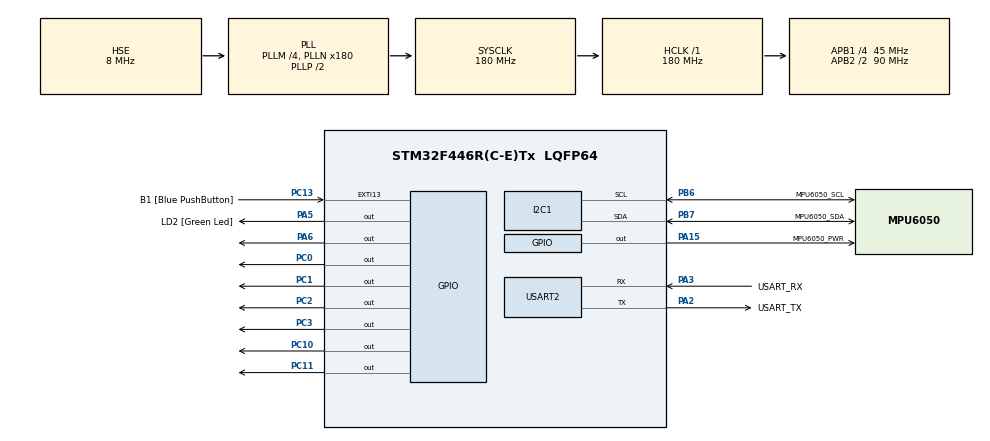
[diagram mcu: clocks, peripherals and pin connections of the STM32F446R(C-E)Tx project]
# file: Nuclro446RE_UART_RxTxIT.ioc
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Dma.I2C1_RX.0.Direction=DMA_PERIPH_TO_MEMORY
Dma.I2C1_RX.0.FIFOMode=DMA_FIFOMODE_DISABLE
Dma.I2C1_RX.0.Instance=DMA1_Stream0
Dma.I2C1_RX.0.MemDataAlignment=DMA_MDATAALIGN_BYTE
Dma.I2C1_RX.0.MemInc=DMA_MINC_ENABLE
Dma.I2C1_RX.0.Mode=DMA_NORMAL
Dma.I2C1_RX.0.PeriphDataAlignment=DMA_PDATAALIGN_BYTE
Dma.I2C1_RX.0.PeriphInc=DMA_PINC_DISABLE
Dma.I2C1_RX.0.Priority=DMA_PRIORITY_HIGH
Dma.I2C1_TX.1.Direction=DMA_MEMORY_TO_PERIPH
Dma.I2C1_TX.1.FIFOMode=DMA_FIFOMODE_DISABLE
Dma.I2C1_TX.1.Instance=DMA1_Stream6
Dma.I2C1_TX.1.MemDataAlignment=DMA_MDATAALIGN_BYTE
Dma.I2C1_TX.1.MemInc=DMA_MINC_ENABLE
Dma.I2C1_TX.1.Mode=DMA_NORMAL
Dma.I2C1_TX.1.PeriphDataAlignment=DMA_PDATAALIGN_BYTE
Dma.I2C1_TX.1.PeriphInc=DMA_PINC_DISABLE
Dma.I2C1_TX.1.Priority=DMA_PRIORITY_HIGH
Dma.Request0=I2C1_RX
Dma.Request1=I2C1_TX
I2C1.DutyCycle=I2C_DUTYCYCLE_16_9
I2C1.I2C_Mode=I2C_Fast
I2C1.OwnAddress=0x0
Mcu.Family=STM32F4
Mcu.Name=STM32F446R(C-E)Tx
Mcu.Package=LQFP64
NVIC.DMA1_Stream0_IRQn=true\:0\:0\:false\:false\:true
NVIC.DMA1_Stream6_IRQn=true\:0\:0\:false\:false\:true
NVIC.PriorityGroup=NVIC_PRIORITYGROUP_0
NVIC.RCC_IRQn=true\:0\:0\:false\:false\:true
NVIC.TIM2_IRQn=true\:0\:0\:false\:false\:true
NVIC.TIM3_IRQn=true\:0\:0\:false\:false\:true
NVIC.USART2_IRQn=true\:0\:0\:false\:false\:true
PA13.GPIO_Label=TMS
PA13.Signal=SYS_JTMS-SWDIO
PA14.GPIO_Label=TCK
PA14.Signal=SYS_JTCK-SWCLK
PA15.GPIO_Label=MPU6050_PWR
PA15.GPIO_Speed=GPIO_SPEED_FREQ_HIGH
PA15.Signal=GPIO_Output
PA2.GPIO_Label=USART_TX
PA2.Mode=Asynchronous
PA2.Signal=USART2_TX
PA3.GPIO_Label=USART_RX
PA3.Mode=Asynchronous
PA3.Signal=USART2_RX
PA5.GPIO_Label=LD2 [Green Led]
PA5.Signal=GPIO_Output
PA6.Signal=GPIO_Output
PB3.GPIO_Label=SWO
PB3.Signal=SYS_JTDO-SWO
PB6.GPIO_Label=MPU6050_SCL
PB6.GPIO_Speed=GPIO_SPEED_FREQ_HIGH
PB6.Mode=I2C
PB6.Signal=I2C1_SCL
PB7.GPIO_Label=MPU6050_SDA
PB7.GPIO_Speed=GPIO_SPEED_FREQ_HIGH
PB7.Mode=I2C
PB7.Signal=I2C1_SDA
PC0.Signal=GPIO_Output
PC1.Signal=GPIO_Output
PC10.Signal=GPIO_Output
PC11.Signal=GPIO_Output
PC13.GPIO_Label=B1 [Blue PushButton]
PC13.GPIO_ModeDefaultEXTI=GPIO_MODE_EVT_RISING
PC13.Signal=GPXTI13
PC14-OSC32_IN.Signal=RCC_OSC32_IN
PC15-OSC32_OUT.Signal=RCC_OSC32_OUT
PC2.Signal=GPIO_Output
PC3.Signal=GPIO_Output
PH0-OSC_IN.Mode=HSE-External-Oscillator
PH0-OSC_IN.Signal=RCC_OSC_IN
PH1-OSC_OUT.Mode=HSE-External-Oscillator
PH1-OSC_OUT.Signal=RCC_OSC_OUT
ProjectManager.HeapSize=0x200
ProjectManager.StackSize=0x400
ProjectManager.TargetToolchain=TrueSTUDIO
RCC.AHBFreq_Value=180000000
RCC.APB1CLKDivider=RCC_HCLK_DIV4
RCC.APB1Freq_Value=45000000
RCC.APB1TimFreq_Value=90000000
RCC.APB2CLKDivider=RCC_HCLK_DIV2
RCC.APB2Freq_Value=90000000
RCC.APB2TimFreq_Value=180000000
RCC.CortexFreq_Value=180000000
RCC.FLatency-AdvancedSettings=FLASH_LATENCY_5
RCC.HCLKFreq_Value=180000000
RCC.HSE_VALUE=8000000
RCC.HSI_VALUE=16000000
RCC.LSE_VALUE=32768
RCC.PLLM=4
RCC.PLLN=180
RCC.PLLSourceVirtual=RCC_PLLSOURCE_HSE
RCC.SYSCLKFreq_VALUE=180000000
RCC.SYSCLKSource=RCC_SYSCLKSOURCE_PLLCLK
RCC.USBFreq_Value=180000000
RCC.VCOOutputFreq_Value=360000000
TIM2.Period=9999
TIM2.Prescaler=9000
TIM3.Period=4999
TIM3.Prescaler=9000
VP_TIM2_VS_ClockSourceINT.Mode=Internal
VP_TIM3_VS_ClockSourceINT.Mode=Internal
board=NUCLEO-F446RE

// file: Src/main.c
/**
  ******************************************************************************
  * File Name          : main.c
  * Description        : Main program body
  ******************************************************************************
  *
  * COPYRIGHT(c) 2016 STMicroelectronics
  *
  * Redistribution and use in source and binary forms, with or without modification,
  * are permitted provided that the following conditions are met:
  *   1. Redistributions of source code must retain the above copyright notice,
  *      this list of conditions and the following disclaimer.
  *   2. Redistributions in binary form must reproduce the above copyright notice,
  *      this list of conditions and the following disclaimer in the documentation
  *      and/or other materials provided with the distribution.
  *   3. Neither the name of STMicroelectronics nor the names of its contributors
  *      may be used to endorse or promote products derived from this software
  *      without specific prior written permission.
  *
  * THIS SOFTWARE IS PROVIDED BY THE COPYRIGHT HOLDERS AND CONTRIBUTORS "AS IS"
  * AND ANY EXPRESS OR IMPLIED WARRANTIES, INCLUDING, BUT NOT LIMITED TO, THE
  * IMPLIED WARRANTIES OF MERCHANTABILITY AND FITNESS FOR A PARTICULAR PURPOSE ARE
  * DISCLAIMED. IN NO EVENT SHALL THE COPYRIGHT HOLDER OR CONTRIBUTORS BE LIABLE
  * FOR ANY DIRECT, INDIRECT, INCIDENTAL, SPECIAL, EXEMPLARY, OR CONSEQUENTIAL
  * DAMAGES (INCLUDING, BUT NOT LIMITED TO, PROCUREMENT OF SUBSTITUTE GOODS OR
  * SERVICES; LOSS OF USE, DATA, OR PROFITS; OR BUSINESS INTERRUPTION) HOWEVER
  * CAUSED AND ON ANY THEORY OF LIABILITY, WHETHER IN CONTRACT, STRICT LIABILITY,
  * OR TORT (INCLUDING NEGLIGENCE OR OTHERWISE) ARISING IN ANY WAY OUT OF THE USE
  * OF THIS SOFTWARE, EVEN IF ADVISED OF THE POSSIBILITY OF SUCH DAMAGE.
  *
  ******************************************************************************
  */
#include "stm32f4xx_hal.h"

/* USER CODE BEGIN Includes */
// SYSTICK_Config는 반드시 1000000으로 설정할것~!!!!!
// I2C Clock는 반드시 400KHz로 설정할것.....
#include <stdio.h>
#include <string.h>
#include "tlcd.h"
#include "my_mpu6050.h"
/* USER CODE END Includes */

I2C_HandleTypeDef hi2c1;
DMA_HandleTypeDef hdma_i2c1_rx;
DMA_HandleTypeDef hdma_i2c1_tx;

TIM_HandleTypeDef htim2;
TIM_HandleTypeDef htim3;

UART_HandleTypeDef huart2;

/* USER CODE BEGIN PV */
/* Private variables ---------------------------------------------------------*/
uint8_t Rx_Data2;            // uart2 receive data buffer
uint8_t Transfer_cplt2=0;
uint8_t count = 0,n;
char    sprt[50],gyroData[60],bufdata[14]={0,},i2cTxData[2],CaliBuf[7];
uint8_t MpuSetReady = 0,i2cStart=0;
volatile char Ten = 0,calibrate = 0;

/* Initialization of variables for kalman filter */
float x_next[7], P_next[7], z[7],K[7],nn[7]={0,},Caliave[7]={0,};
float P[7]={1,1,1,1,1,1,1};
float Q[7]={0.01,0.01,0.01,0.01,0.01,0.01,0.01};
float R[7]={0.0002,0.0002,0.0002,0.0002,0.0002,0.0002,0.0002};
float xfilter_value[7]={0,0,0,0,0,0,0},Conv_value[7]={0,};

/* USER CODE END PV */

void SystemClock_Config(void);
void Error_Handler(void);
static void MX_GPIO_Init(void);
static void MX_DMA_Init(void);
static void MX_USART2_UART_Init(void);
static void MX_I2C1_Init(void);
static void MX_TIM2_Init(void);
static void MX_TIM3_Init(void);

/* USER CODE BEGIN PFP */
/* Private function prototypes -----------------------------------------------*/
void HAL_UART_RxCpltCallback(UART_HandleTypeDef *huart);
void HAL_TIM_PeriodElapsedCallback(TIM_HandleTypeDef *htim);
void kalman_filter();

/* USER CODE END PFP */

/* USER CODE BEGIN 0 */
void HAL_UART_RxCpltCallback(UART_HandleTypeDef *huart)
{
	if(huart->Instance==USART2){
		HAL_UART_Transmit(&huart2,(uint8_t *)&Rx_Data2, 1,1000);
		HAL_UART_Receive_IT(&huart2,(uint8_t *)&Rx_Data2, 1);
		HAL_GPIO_TogglePin(LD2_GPIO_Port, LD2_Pin);
	}
/*	if(huart->Instance==UART5){
		HAL_UART_Transmit(&huart2,(uint8_t *)&Rx_Data5, 1,1000);
		HAL_UART_Receive_IT(&huart5,(uint8_t *)&Rx_Data5, 1);
	} */
}

uint8_t test = 0;
void HAL_TIM_PeriodElapsedCallback(TIM_HandleTypeDef *htim)
{
	int n;
	char tstr[20];

	if(htim->Instance==TIM2) {       // 1 sec interrupt
		//sprintf(sprt,"DT : %02d\r\n",count++);
		//if(count==100) count = 0;
		//HAL_UART_Transmit(&huart2,(uint8_t *)"0123456789\r\n", 12,1000);
		HAL_GPIO_TogglePin(LD2_GPIO_Port, LD2_Pin);
	}
	else if(htim->Instance==TIM3) {  // 1/100 sec interrupt
		if(!i2cStart) return;
		i2cTxData[0] = (uint8_t)0x3B;      // 0x3B - GYRO data register start address
		i2cTxData[1] = (uint8_t)0;         // 0
		while(HAL_I2C_Master_Transmit(&hi2c1,(uint16_t)MPU6050,(uint8_t *)&i2cTxData[0],1,1000)!=HAL_OK);  // 0x3B
		while(HAL_I2C_Master_Receive (&hi2c1,(uint16_t)MPU6050,(uint8_t *)bufdata,14,1000)!=HAL_OK);

		for(n=0;n<7;n++)	nn[n] += ((int16_t)(bufdata[n*2]<<8)| bufdata[n*2+1]);

		// 0.01초에 합번씩 총 10회 읽어서 10으로 나누어 평균으로 구한 뒤 칼만필터로 계산한다.
		Ten++;
		if(Ten < 10) return;
		Ten = 0;
		for(n=0;n<7;n++)	nn[n] /= 10.0; // 10으로 나누어서 평균을 구한다. ; 오차를 줄이기 위해....
		if(!calibrate) {
			for(n=0;n<7;n++)	Caliave[n] = nn[n]; // 초기 평균값을 저장한다.
			calibrate = 1;
		}

		nn[0] -= Caliave[0];  			// accel x
		nn[1] -= Caliave[1];  			// accel y
		nn[2] += (16384-Caliave[2]);  	// accel z
		nn[3] -= Caliave[3];
		nn[3] -= Caliave[4];			// gyro x
		nn[3] -= Caliave[5];			// gyro y
		nn[3] -= Caliave[6];			// gyro z

		kalman_filter();
		sprintf(tstr,"%8.2f%8.2f",nn[0],nn[1]);
		TLCD_Puts(1,0,tstr);
		for(n=0;n<7;n++)	nn[n] = 0; // clear 한다....
	}
}

// 7개의 값을 칼만필터 적용
void kalman_filter()
{
	int ifilter;
	char fstr[80];

    // Iteration loop
    for(ifilter=0;ifilter<7;ifilter++) {
    	x_next[ifilter]=xfilter_value[ifilter];
    	P_next[ifilter]=P[ifilter]+Q[ifilter];
    	K[ifilter]=P_next[ifilter]/(P_next[ifilter]+R[ifilter]);

    	// Original Data
    	z[ifilter]=(float)nn[ifilter];
    	// Kalman Data
    	xfilter_value[ifilter]=x_next[ifilter]+K[ifilter]*(z[ifilter]-x_next[ifilter]);

    	P[ifilter]=(1-K[ifilter])*P_next[ifilter];
    }

    for(ifilter=0;ifilter<=2;ifilter++) 	Conv_value[ifilter] = xfilter_value[ifilter] / 16384;
    Conv_value[3] = (xfilter_value[3]+12412)/340.0;
    for(ifilter=4;ifilter<=6;ifilter++)
    	Conv_value[ifilter] += ((xfilter_value[ifilter]-Caliave[ifilter]) / 131.0)*0.1;

    sprintf(fstr,"%10.2f%10.2f%10.2f%10.2f%10.2f%10.2f%10.2f\r\n",
    		Conv_value[0],Conv_value[1],Conv_value[2],    // ACCEL
			Conv_value[3],                                // TEMP
			Conv_value[4],Conv_value[5],Conv_value[6]     // GYRO
    );

    HAL_UART_Transmit(&huart2,(uint8_t *)fstr, 72,1000);
    memset(bufdata,0x00,14);
}

/* USER CODE END 0 */

int main(void)
{

  /* MCU Configuration----------------------------------------------------------*/

  /* Reset of all peripherals, Initializes the Flash interface and the Systick. */
  HAL_Init();

  /* Configure the system clock */
  SystemClock_Config();

  /* Initialize all configured peripherals */
  MX_GPIO_Init();
  MX_DMA_Init();
  MX_USART2_UART_Init();
  MX_I2C1_Init();
  MX_TIM2_Init();
  MX_TIM3_Init();

  /* USER CODE BEGIN 2 */
	TLCD_Init(GPIOC,GPIO_PIN_10,GPIO_PIN_11,GPIO_PIN_0,GPIO_PIN_1,GPIO_PIN_2,GPIO_PIN_3);
	TLCD_Puts(1,0,"Wait a moment...");
	TLCD_Puts(2,0,"GYRO Sensor init");

    // START MPU6050 --------------------------------------------------------------------
    // 만약 mpu6050이 연결되어 있지 않으면 무한루프에 빠짐.
    HAL_GPIO_WritePin(GPIOA, MPU6050_PWR_Pin, GPIO_PIN_RESET);    // PA15 pin Off...
    HAL_Delay(500000);   // wait 0.5 sec for MPU6050 power reset
    HAL_GPIO_WritePin(GPIOA, MPU6050_PWR_Pin, GPIO_PIN_SET);    // PA15 pin On...
    HAL_Delay(500000);   // 리셋 후 기동시까지 0.5초 기다림.

  	i2cTxData[0] = (uint8_t)RA_PWR_ADDR;      // 0x6B ; power on
    i2cTxData[1] = (uint8_t)RA_PWR_MGMT_1;    // 0
  	while(HAL_I2C_Master_Transmit(&hi2c1,(uint16_t)MPU6050,(uint8_t *)i2cTxData,2,1000)!=HAL_OK);
  	HAL_Delay(1000);    // wait 0.001 sec for MPU6050 START

  	i2cTxData[0] = (uint8_t)RA_USER_CTRL;     // 0x6A ;
    i2cTxData[1] = (uint8_t)USER_CTRL;        // 0
    while(HAL_I2C_Master_Transmit(&hi2c1,(uint16_t)MPU6050,(uint8_t *)i2cTxData,2,1000)!=HAL_OK);

  	i2cTxData[0] = (uint8_t)RA_INT_PIN_CFG;   // 0x37 ;
    i2cTxData[1] = (uint8_t)PIN_CFG;          // 0
    while(HAL_I2C_Master_Transmit(&hi2c1,(uint16_t)MPU6050,(uint8_t *)i2cTxData,2,1000)!=HAL_OK);

  	i2cTxData[0] = (uint8_t)RA_SMPLRT_DIV;    // 0x19 ;
    i2cTxData[1] = (uint8_t)SMPLRT_DIV;       // 19
    while(HAL_I2C_Master_Transmit(&hi2c1,(uint16_t)MPU6050,(uint8_t *)i2cTxData,2,1000)!=HAL_OK);

  	i2cTxData[0] = (uint8_t)RA_GYRO_CONFIG;   // 0x1B ;
    i2cTxData[1] = (uint8_t)USER_CTRL;        // 0
    while(HAL_I2C_Master_Transmit(&hi2c1,(uint16_t)MPU6050,(uint8_t *)i2cTxData,2,1000)!=HAL_OK);

  	i2cTxData[0] = (uint8_t)RA_ACCEL_CONFIG;  // 0x1C ;
    i2cTxData[1] = (uint8_t)USER_CTRL;        // 0
    while(HAL_I2C_Master_Transmit(&hi2c1,(uint16_t)MPU6050,(uint8_t *)i2cTxData,2,1000)!=HAL_OK);

  	i2cTxData[0] = (uint8_t)RA_CONFIG;        // 0x1A ;
  	i2cTxData[1] = (uint8_t)0;                // 0
  	while(HAL_I2C_Master_Transmit(&hi2c1,(uint16_t)MPU6050,(uint8_t *)i2cTxData,2,1000)!=HAL_OK);

  	// END   MPU6050 --------------------------------------------------------------------

  	i2cTxData[0] = (uint8_t)RA_WHO_AM_I;      // 0x75 ; who am i
    i2cTxData[1] = (uint8_t)1;                // 0
  	while(HAL_I2C_Master_Transmit(&hi2c1,(uint16_t)MPU6050,(uint8_t *)&i2cTxData[0],1,1000)!=HAL_OK);
  	while(HAL_I2C_Master_Receive (&hi2c1,(uint16_t)MPU6050,(uint8_t *)whoAmI,2,1000)!=HAL_OK);

  	while(HAL_UART_Receive_IT(&huart2, (uint8_t *)&Rx_Data2, 1)!=HAL_OK);
	while(HAL_TIM_Base_Start_IT(&htim2)!=HAL_OK);
	while(HAL_TIM_Base_Start_IT(&htim3)!=HAL_OK);

	// LCD사용을 위해 GPIOC를 사용. RS,E, D4,D5,D6,D7
//	TLCD_Init(GPIOC,GPIO_PIN_10,GPIO_PIN_11,GPIO_PIN_0,GPIO_PIN_1,GPIO_PIN_2,GPIO_PIN_3);
    HAL_Delay(500000);  // 0.5 sec
	TLCD_Puts(1,0,"                ");
	TLCD_Puts(2,0,"                ");
    sprintf(sprt," I2C IDn : %3x ",whoAmI[0]);
    TLCD_Puts(2,1,sprt);
    MpuSetReady = 1;

  /* USER CODE END 2 */

  /* Infinite loop */
  /* USER CODE BEGIN WHILE */

	i2cStart = 1;
	while (1)
	{
  /* USER CODE END WHILE */

  /* USER CODE BEGIN 3 */
		/*
	while(HAL_I2C_Master_Transmit(&hi2c1,(uint16_t)MPU6050,(uint8_t *)&i2cTxData[0],1,1000)!=HAL_OK);  // 0x3B
	while(HAL_I2C_Master_Receive (&hi2c1,(uint16_t)MPU6050,(uint8_t *)bufdata,14,1000)!=HAL_OK);

	for(n=0;n<7;n++) {
		nn[n] = ((int16_t)(bufdata[n*2]<<8)| bufdata[n*2+1])/100.0;
	}
	kalman_filter();
	memset(bufdata,0x00,14);
	HAL_Delay(10000); */
	}

  /* USER CODE END 3 */

}

/** System Clock Configuration
*/
void SystemClock_Config(void)
{

  RCC_OscInitTypeDef RCC_OscInitStruct;
  RCC_ClkInitTypeDef RCC_ClkInitStruct;

  __HAL_RCC_PWR_CLK_ENABLE();

  __HAL_PWR_VOLTAGESCALING_CONFIG(PWR_REGULATOR_VOLTAGE_SCALE1);

  RCC_OscInitStruct.OscillatorType = RCC_OSCILLATORTYPE_HSE;
  RCC_OscInitStruct.HSEState = RCC_HSE_ON;
  RCC_OscInitStruct.PLL.PLLState = RCC_PLL_ON;
  RCC_OscInitStruct.PLL.PLLSource = RCC_PLLSOURCE_HSE;
  RCC_OscInitStruct.PLL.PLLM = 4;
  RCC_OscInitStruct.PLL.PLLN = 180;
  RCC_OscInitStruct.PLL.PLLP = RCC_PLLP_DIV2;
  RCC_OscInitStruct.PLL.PLLQ = 2;
  RCC_OscInitStruct.PLL.PLLR = 2;
  if (HAL_RCC_OscConfig(&RCC_OscInitStruct) != HAL_OK)
  {
    Error_Handler();
  }

  if (HAL_PWREx_EnableOverDrive() != HAL_OK)
  {
    Error_Handler();
  }

  RCC_ClkInitStruct.ClockType = RCC_CLOCKTYPE_HCLK|RCC_CLOCKTYPE_SYSCLK
                              |RCC_CLOCKTYPE_PCLK1|RCC_CLOCKTYPE_PCLK2;
  RCC_ClkInitStruct.SYSCLKSource = RCC_SYSCLKSOURCE_PLLCLK;
  RCC_ClkInitStruct.AHBCLKDivider = RCC_SYSCLK_DIV1;
  RCC_ClkInitStruct.APB1CLKDivider = RCC_HCLK_DIV4;
  RCC_ClkInitStruct.APB2CLKDivider = RCC_HCLK_DIV2;
  if (HAL_RCC_ClockConfig(&RCC_ClkInitStruct, FLASH_LATENCY_5) != HAL_OK)
  {
    Error_Handler();
  }

  HAL_SYSTICK_Config(HAL_RCC_GetHCLKFreq()/1000000);

  HAL_SYSTICK_CLKSourceConfig(SYSTICK_CLKSOURCE_HCLK);

  /* SysTick_IRQn interrupt configuration */
  HAL_NVIC_SetPriority(SysTick_IRQn, 0, 0);
}

/* I2C1 init function */
static void MX_I2C1_Init(void)
{

  hi2c1.Instance = I2C1;
  hi2c1.Init.ClockSpeed = 400000;
  hi2c1.Init.DutyCycle = I2C_DUTYCYCLE_16_9;
  hi2c1.Init.OwnAddress1 = 0;
  hi2c1.Init.AddressingMode = I2C_ADDRESSINGMODE_7BIT;
  hi2c1.Init.DualAddressMode = I2C_DUALADDRESS_DISABLE;
  hi2c1.Init.OwnAddress2 = 0;
  hi2c1.Init.GeneralCallMode = I2C_GENERALCALL_DISABLE;
  hi2c1.Init.NoStretchMode = I2C_NOSTRETCH_DISABLE;
  if (HAL_I2C_Init(&hi2c1) != HAL_OK)
  {
    Error_Handler();
  }

}

/* TIM2 init function */
static void MX_TIM2_Init(void)
{

  TIM_ClockConfigTypeDef sClockSourceConfig;
  TIM_MasterConfigTypeDef sMasterConfig;

  htim2.Instance = TIM2;
  htim2.Init.Prescaler = 8999;
  htim2.Init.CounterMode = TIM_COUNTERMODE_UP;
  htim2.Init.Period = 9999;
  htim2.Init.ClockDivision = TIM_CLOCKDIVISION_DIV1;
  if (HAL_TIM_Base_Init(&htim2) != HAL_OK)
  {
    Error_Handler();
  }

  sClockSourceConfig.ClockSource = TIM_CLOCKSOURCE_INTERNAL;
  if (HAL_TIM_ConfigClockSource(&htim2, &sClockSourceConfig) != HAL_OK)
  {
    Error_Handler();
  }

  sMasterConfig.MasterOutputTrigger = TIM_TRGO_RESET;
  sMasterConfig.MasterSlaveMode = TIM_MASTERSLAVEMODE_DISABLE;
  if (HAL_TIMEx_MasterConfigSynchronization(&htim2, &sMasterConfig) != HAL_OK)
  {
    Error_Handler();
  }

}

/* TIM3 init function */
static void MX_TIM3_Init(void)
{

  TIM_ClockConfigTypeDef sClockSourceConfig;
  TIM_MasterConfigTypeDef sMasterConfig;

  htim3.Instance = TIM3;
  htim3.Init.Prescaler = 8999;
  htim3.Init.CounterMode = TIM_COUNTERMODE_UP;
  htim3.Init.Period = 99;
  htim3.Init.ClockDivision = TIM_CLOCKDIVISION_DIV1;
  if (HAL_TIM_Base_Init(&htim3) != HAL_OK)
  {
    Error_Handler();
  }

  sClockSourceConfig.ClockSource = TIM_CLOCKSOURCE_INTERNAL;
  if (HAL_TIM_ConfigClockSource(&htim3, &sClockSourceConfig) != HAL_OK)
  {
    Error_Handler();
  }

  sMasterConfig.MasterOutputTrigger = TIM_TRGO_RESET;
  sMasterConfig.MasterSlaveMode = TIM_MASTERSLAVEMODE_DISABLE;
  if (HAL_TIMEx_MasterConfigSynchronization(&htim3, &sMasterConfig) != HAL_OK)
  {
    Error_Handler();
  }

}

/* USART2 init function */
static void MX_USART2_UART_Init(void)
{

  huart2.Instance = USART2;
  huart2.Init.BaudRate = 115200;
  huart2.Init.WordLength = UART_WORDLENGTH_8B;
  huart2.Init.StopBits = UART_STOPBITS_1;
  huart2.Init.Parity = UART_PARITY_NONE;
  huart2.Init.Mode = UART_MODE_TX_RX;
  huart2.Init.HwFlowCtl = UART_HWCONTROL_NONE;
  huart2.Init.OverSampling = UART_OVERSAMPLING_16;
  if (HAL_UART_Init(&huart2) != HAL_OK)
  {
    Error_Handler();
  }

}

static void MX_DMA_Init(void)
{
  /* DMA controller clock enable */
  __HAL_RCC_DMA1_CLK_ENABLE();

  /* DMA interrupt init */
  /* DMA1_Stream0_IRQn interrupt configuration */
  HAL_NVIC_SetPriority(DMA1_Stream0_IRQn, 0, 0);
  HAL_NVIC_EnableIRQ(DMA1_Stream0_IRQn);
  /* DMA1_Stream6_IRQn interrupt configuration */
  HAL_NVIC_SetPriority(DMA1_Stream6_IRQn, 0, 0);
  HAL_NVIC_EnableIRQ(DMA1_Stream6_IRQn);

}

/** Configure pins as
        * Analog
        * Input
        * Output
        * EVENT_OUT
        * EXTI
*/
static void MX_GPIO_Init(void)
{

  GPIO_InitTypeDef GPIO_InitStruct;

  /* GPIO Ports Clock Enable */
  __HAL_RCC_GPIOC_CLK_ENABLE();
  __HAL_RCC_GPIOH_CLK_ENABLE();
  __HAL_RCC_GPIOA_CLK_ENABLE();
  __HAL_RCC_GPIOB_CLK_ENABLE();

  /*Configure GPIO pin : B1_Pin */
  GPIO_InitStruct.Pin = B1_Pin;
  GPIO_InitStruct.Mode = GPIO_MODE_EVT_RISING;
  GPIO_InitStruct.Pull = GPIO_NOPULL;
  HAL_GPIO_Init(B1_GPIO_Port, &GPIO_InitStruct);

  /*Configure GPIO pins : PC0 PC1 PC2 PC3
                           PC10 PC11 */
  GPIO_InitStruct.Pin = GPIO_PIN_0|GPIO_PIN_1|GPIO_PIN_2|GPIO_PIN_3
                          |GPIO_PIN_10|GPIO_PIN_11;
  GPIO_InitStruct.Mode = GPIO_MODE_OUTPUT_PP;
  GPIO_InitStruct.Pull = GPIO_NOPULL;
  GPIO_InitStruct.Speed = GPIO_SPEED_FREQ_LOW;
  HAL_GPIO_Init(GPIOC, &GPIO_InitStruct);

  /*Configure GPIO pins : LD2_Pin PA6 */
  GPIO_InitStruct.Pin = LD2_Pin|GPIO_PIN_6;
  GPIO_InitStruct.Mode = GPIO_MODE_OUTPUT_PP;
  GPIO_InitStruct.Pull = GPIO_NOPULL;
  GPIO_InitStruct.Speed = GPIO_SPEED_FREQ_LOW;
  HAL_GPIO_Init(GPIOA, &GPIO_InitStruct);

  /*Configure GPIO pin : MPU6050_PWR_Pin */
  GPIO_InitStruct.Pin = MPU6050_PWR_Pin;
  GPIO_InitStruct.Mode = GPIO_MODE_OUTPUT_PP;
  GPIO_InitStruct.Pull = GPIO_NOPULL;
  GPIO_InitStruct.Speed = GPIO_SPEED_FREQ_HIGH;
  HAL_GPIO_Init(MPU6050_PWR_GPIO_Port, &GPIO_InitStruct);

  /*Configure GPIO pin Output Level */
  HAL_GPIO_WritePin(GPIOC, GPIO_PIN_0|GPIO_PIN_1|GPIO_PIN_2|GPIO_PIN_3
                          |GPIO_PIN_10|GPIO_PIN_11, GPIO_PIN_RESET);

  /*Configure GPIO pin Output Level */
  HAL_GPIO_WritePin(GPIOA, LD2_Pin|GPIO_PIN_6|MPU6050_PWR_Pin, GPIO_PIN_RESET);

}

void Error_Handler(void)
{
  while(1)
  {
  }
}

/************************ (C) COPYRIGHT STMicroelectronics *****END OF FILE****/
